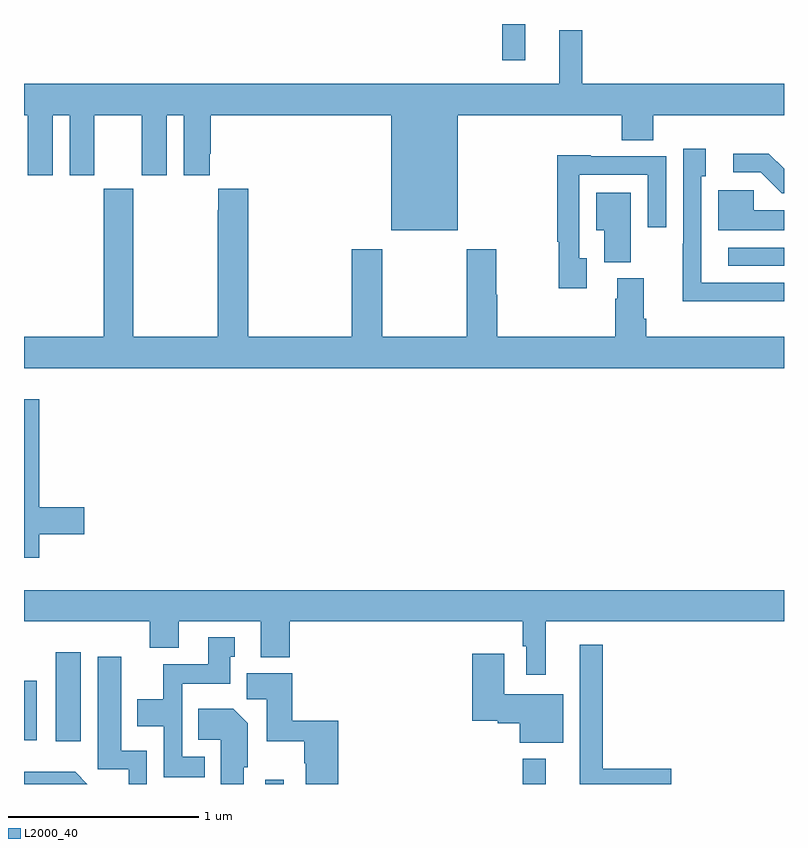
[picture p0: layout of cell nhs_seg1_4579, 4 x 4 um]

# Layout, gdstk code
import gdstk
lib = gdstk.Library(unit=1e-6, precision=1e-09)
def R(c, l, rs):  # rectangles x0, y0, x1, y1
    for r in rs: c.add(gdstk.rectangle(r[:2], r[2:], *l))
def P(c, l, *ps):  # polygons
    for p in ps: c.add(gdstk.Polygon(p, *l))
L2000_40 = (2000, 40)

nhs_seg1_4579 = lib.new_cell('nhs_seg1_4579')
R(nhs_seg1_4579, L2000_40, [(360.27,560.199,360.366,560.221), (361.626,560.199,361.747,560.332), (359.168,560.424,359.299,560.893), (359,560.429,359.068,560.743), (362.706,562.926,363,563.022), (361.518,564.009,361.639,564.199)])
P(nhs_seg1_4579, L2000_40, [(361.282,563.72),(362.147,563.72),(362.147,563.587),(362.312,563.587),(362.312,563.72),(363,563.72),(363,563.884),(361.939,563.884),(361.939,564.166),(361.817,564.166),(361.817,563.884),(359,563.884),(359,563.72),(359.021,563.72),(359.021,563.403),(359.152,563.403),(359.152,563.72),(359.24,563.72),(359.24,563.403),(359.371,563.403),(359.371,563.72),(359.621,563.72),(359.621,563.403),(359.752,563.403),(359.752,563.72),(359.84,563.72),(359.84,563.403),(359.977,563.403),(359.977,563.515),(359.984,563.515),(359.984,563.72),(360.932,563.72),(360.932,563.114),(361.282,563.114)],
  [(362.93,562.74),(363,562.74),(363,562.836),(362.565,562.836),(362.565,563.397),(362.587,563.397),(362.587,563.542),(362.469,563.542),(362.469,563.042),(362.468,563.042),(362.468,562.739),(362.93,562.739)],
  [(363,563.436),(362.92,563.516),(362.733,563.516),(362.733,563.418),(362.877,563.418),(362.988,563.307),(363,563.307)],
  [(361.963,562.965),(361.923,562.965),(361.923,563.406),(362.283,563.406),(362.283,563.13),(362.379,563.13),(362.379,563.502),(361.983,563.502),(361.983,563.509),(361.807,563.509),(361.807,563.053),(361.815,563.053),(361.815,562.809),(361.963,562.809)],
  [(363,562.552),(362.276,562.552),(362.276,562.648),(362.263,562.648),(362.263,562.86),(362.123,562.86),(362.123,562.754),(362.111,562.754),(362.111,562.552),(361.49,562.552),(361.49,562.775),(361.485,562.775),(361.485,563.014),(361.33,563.014),(361.33,562.552),(360.885,562.552),(360.885,563.014),(360.725,563.014),(360.725,562.552),(360.179,562.552),(360.179,563.332),(360.023,563.332),(360.023,563.219),(360.019,563.219),(360.019,562.552),(359.574,562.552),(359.574,563.332),(359.419,563.332),(359.419,562.552),(359,562.552),(359,562.388),(363,562.388)],
  [(363,563.218),(362.841,563.218),(362.841,563.325),(362.654,563.325),(362.654,563.114),(363,563.114)],
  [(362.194,563.311),(362.012,563.311),(362.012,563.114),(362.054,563.114),(362.054,562.945),(362.194,562.945)],
  [(359.081,561.514),(359.317,561.514),(359.317,561.656),(359.081,561.656),(359.081,562.225),(359,562.225),(359,561.39),(359.081,561.39)],
  [(361.747,561.056),(363,561.056),(363,561.22),(359,561.22),(359,561.056),(359.663,561.056),(359.663,560.915),(359.815,560.915),(359.815,561.056),(360.245,561.056),(360.245,560.867),(360.398,560.867),(360.398,561.056),(361.626,561.056),(361.626,560.924),(361.643,560.924),(361.643,560.775),(361.747,560.775)],
  [(359.95,560.343),(359.832,560.343),(359.832,560.726),(360.085,560.726),(360.085,560.868),(360.109,560.868),(360.109,560.971),(359.969,560.971),(359.969,560.83),(359.734,560.83),(359.734,560.644),(359.597,560.644),(359.597,560.504),(359.736,560.504),(359.736,560.235),(359.95,560.235)],
  [(362.407,560.279),(362.047,560.279),(362.047,560.932),(361.925,560.932),(361.925,560.199),(362.407,560.199)],
  [(361.837,560.671),(361.528,560.671),(361.528,560.884),(361.358,560.884),(361.358,560.531),(361.494,560.531),(361.494,560.519),(361.61,560.519),(361.61,560.417),(361.837,560.417)],
  [(359.646,560.374),(359.512,560.374),(359.512,560.869),(359.387,560.869),(359.387,560.277),(359.55,560.277),(359.55,560.199),(359.646,560.199)],
  [(360.653,560.533),(360.413,560.533),(360.413,560.782),(360.173,560.782),(360.173,560.644),(360.278,560.644),(360.278,560.423),(360.475,560.423),(360.475,560.308),(360.482,560.308),(360.482,560.199),(360.653,560.199)],
  [(360.157,560.286),(360.178,560.286),(360.178,560.518),(360.1,560.596),(359.917,560.596),(359.917,560.432),(360.035,560.432),(360.035,560.199),(360.157,560.199)],
  [(359.271,560.263),(359,560.263),(359,560.199),(359.334,560.199)])

lib.write_gds('nhs_seg1_4579.gds')
